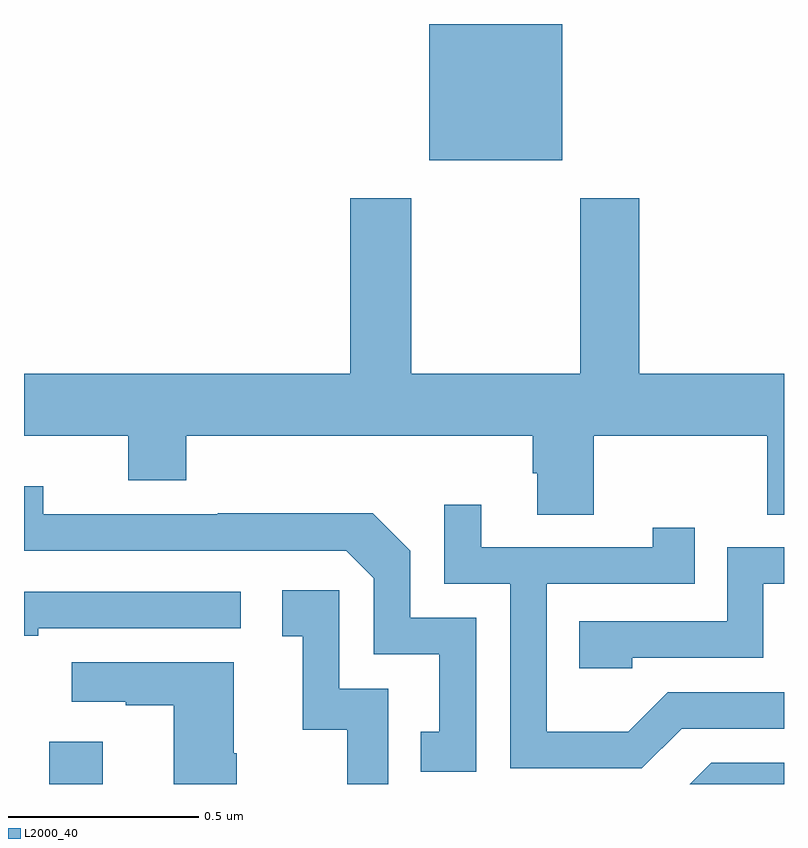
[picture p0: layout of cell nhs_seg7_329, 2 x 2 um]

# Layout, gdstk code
import gdstk
lib = gdstk.Library(unit=1e-6, precision=1e-09)
def R(c, l, rs):  # rectangles x0, y0, x1, y1
    for r in rs: c.add(gdstk.rectangle(r[:2], r[2:], *l))
def P(c, l, *ps):  # polygons
    for p in ps: c.add(gdstk.Polygon(p, *l))
L2000_40 = (2000, 40)

nhs_seg7_329 = lib.new_cell('nhs_seg7_329')
R(nhs_seg7_329, L2000_40, [(115.067,1033,115.207,1033.111), (116.066,1034.642,116.416,1035)])
P(nhs_seg7_329, L2000_40, [(116.499,1033.916),(116.956,1033.916),(116.956,1033.708),(117,1033.708),(117,1034.08),(116.619,1034.08),(116.619,1034.542),(116.464,1034.542),(116.464,1034.08),(116.019,1034.08),(116.019,1034.542),(115.859,1034.542),(115.859,1034.08),(115,1034.08),(115,1033.916),(115.274,1033.916),(115.274,1033.799),(115.427,1033.799),(115.427,1033.916),(116.339,1033.916),(116.339,1033.818),(116.351,1033.818),(116.351,1033.708),(116.499,1033.708)],
  [(116.19,1033.437),(116.016,1033.437),(116.016,1033.614),(115.918,1033.712),(115.51,1033.712),(115.51,1033.71),(115.05,1033.71),(115.05,1033.783),(115,1033.783),(115,1033.614),(115.848,1033.614),(115.92,1033.542),(115.92,1033.341),(116.093,1033.341),(116.093,1033.137),(116.044,1033.137),(116.044,1033.032),(116.19,1033.032)],
  [(116.731,1033.146),(117,1033.146),(117,1033.242),(116.694,1033.242),(116.59,1033.138),(116.376,1033.138),(116.376,1033.527),(116.765,1033.527),(116.765,1033.675),(116.654,1033.675),(116.654,1033.623),(116.203,1033.623),(116.203,1033.735),(116.106,1033.735),(116.106,1033.527),(116.28,1033.527),(116.28,1033.041),(116.626,1033.041)],
  [(116.601,1033.332),(116.946,1033.332),(116.946,1033.527),(117,1033.527),(117,1033.623),(116.85,1033.623),(116.85,1033.428),(116.461,1033.428),(116.461,1033.305),(116.601,1033.305)],
  [(115.959,1033.251),(115.83,1033.251),(115.83,1033.51),(115.68,1033.51),(115.68,1033.389),(115.733,1033.389),(115.733,1033.143),(115.851,1033.143),(115.851,1033),(115.959,1033)],
  [(115.037,1033.41),(115.57,1033.41),(115.57,1033.506),(115,1033.506),(115,1033.39),(115.037,1033.39)],
  [(115.56,1033.081),(115.552,1033.081),(115.552,1033.321),(115.125,1033.321),(115.125,1033.217),(115.268,1033.217),(115.268,1033.207),(115.394,1033.207),(115.394,1033),(115.56,1033)],
  [(117,1033.056),(116.808,1033.056),(116.752,1033),(117,1033)])

lib.write_gds('nhs_seg7_329.gds')
